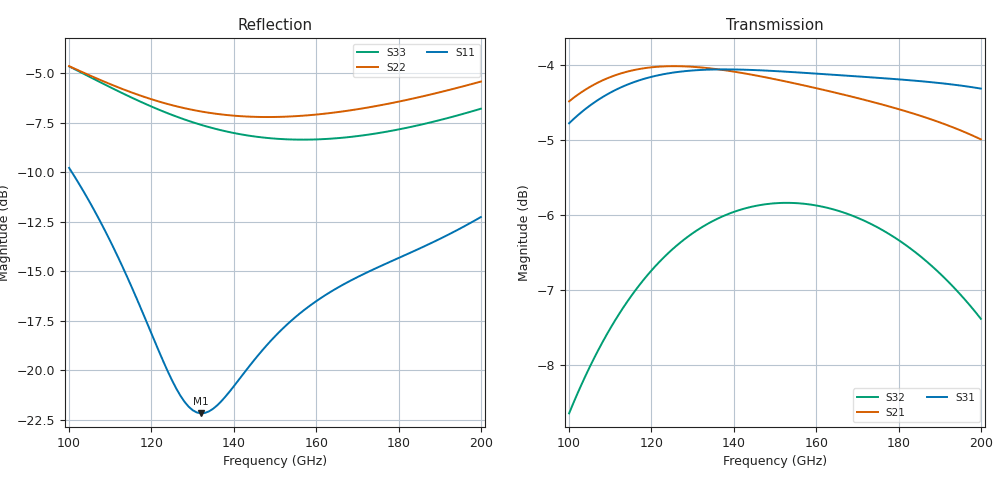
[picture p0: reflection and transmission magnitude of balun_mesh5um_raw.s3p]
#  GHZ S DB R 50.0
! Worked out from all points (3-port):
!   101 points, 100 GHz to 200 GHz, reference 50 ohm
!   strongest paths, dB at 100 GHz, 125 GHz, 150 GHz, 175 GHz, 200 GHz:
!     S31: -4.8, -4.1, -4.1, -4.2, -4.3
!     S21: -4.5, -4.0, -4.2, -4.5, -5.0
!     S32: -8.6, -6.5, -5.8, -6.2, -7.4
!   lowest |S11| = -22.2 dB at 132 GHz (marker M1), VSWR 1.17, Z = 43.2 + j2.44 ohm
!   |S11| at or under -10 dB: 100.7 GHz to end of sweep
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100  -9.79 126.5  -4.49 -17.8  -4.78 157.9
     -4.49 -17.8  -4.65 59.0  -8.64 88.0
     -4.78 157.9  -8.64 88.0  -4.66 48.1
114  -15.25 118.2  -4.09 -39.9  -4.27 134.3
     -4.09 -39.9  -5.88 47.3  -7.16 66.2
     -4.27 134.3  -7.16 66.2  -6.12 33.9
126  -20.92 136.1  -4.02 -57.2  -4.10 115.8
     -4.02 -57.2  -6.67 39.1  -6.41 48.8
     -4.10 115.8  -6.41 48.8  -7.19 24.0
132  -22.18 158.9  -4.04 -65.3  -4.07 107.1
     -4.04 -65.3  -6.93 35.2  -6.17 40.6
     -4.07 107.1  -6.17 40.6  -7.61 19.6
137  -21.56 176.1  -4.07 -71.9  -4.06 100.0
     -4.07 -71.9  -7.09 32.0  -6.03 34.0
     -4.06 100.0  -6.03 34.0  -7.89 16.1
150  -18.29 -165.8  -4.19 -88.1  -4.09 82.6
     -4.19 -88.1  -7.21 23.2  -5.85 17.4
     -4.09 82.6  -5.85 17.4  -8.31 7.0
161  -16.38 -163.7  -4.33 -101.3  -4.12 68.4
     -4.33 -101.3  -7.07 14.9  -5.89 4.0
     -4.12 68.4  -5.89 4.0  -8.34 -1.1
173  -15.00 -164.1  -4.49 -115.4  -4.17 53.3
     -4.49 -115.4  -6.72 4.7  -6.11 -10.4
     -4.17 53.3  -6.11 -10.4  -8.10 -10.8
187  -13.67 -164.8  -4.71 -132.0  -4.23 35.7
     -4.71 -132.0  -6.12 -8.6  -6.63 -27.2
     -4.23 35.7  -6.63 -27.2  -7.53 -23.5
200  -12.27 -166.0  -4.99 -147.8  -4.32 19.0
     -4.99 -147.8  -5.42 -22.2  -7.38 -43.0
     -4.32 19.0  -7.38 -43.0  -6.80 -36.5
